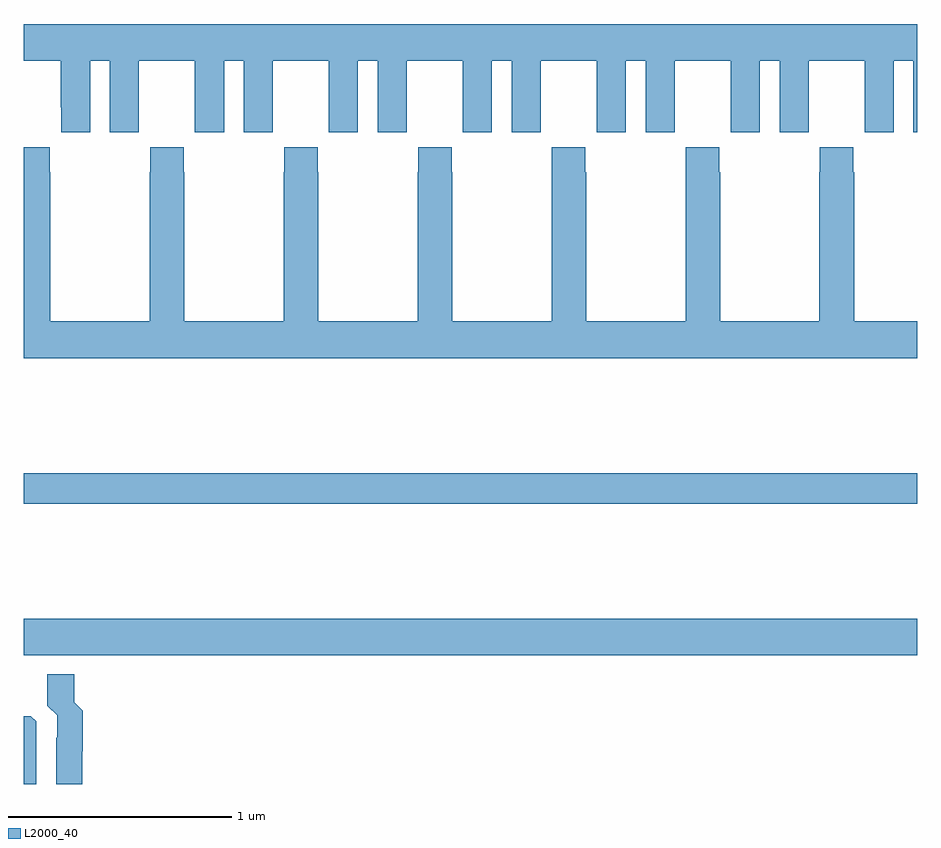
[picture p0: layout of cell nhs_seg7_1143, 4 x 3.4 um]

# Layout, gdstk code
import gdstk
lib = gdstk.Library(unit=1e-6, precision=1e-09)
def R(c, l, rs):  # rectangles x0, y0, x1, y1
    for r in rs: c.add(gdstk.rectangle(r[:2], r[2:], *l))
def P(c, l, *ps):  # polygons
    for p in ps: c.add(gdstk.Polygon(p, *l))
L2000_40 = (2000, 40)

nhs_seg7_1143 = lib.new_cell('nhs_seg7_1143')
R(nhs_seg7_1143, L2000_40, [(191,1040.576,195,1040.74), (191,1041.256,195,1041.392)])
P(nhs_seg7_1143, L2000_40, [(191.296,1043.24),(191.384,1043.24),(191.384,1042.92),(191.514,1042.92),(191.514,1043.032),(191.515,1043.032),(191.515,1043.24),(191.765,1043.24),(191.765,1043.032),(191.766,1043.032),(191.766,1042.92),(191.896,1042.92),(191.896,1043.24),(191.984,1043.24),(191.984,1042.92),(192.114,1042.92),(192.114,1043.032),(192.115,1043.032),(192.115,1043.24),(192.365,1043.24),(192.365,1043.032),(192.366,1043.032),(192.366,1042.92),(192.496,1042.92),(192.496,1043.24),(192.584,1043.24),(192.584,1042.92),(192.714,1042.92),(192.714,1043.032),(192.715,1043.032),(192.715,1043.24),(192.965,1043.24),(192.965,1043.032),(192.966,1043.032),(192.966,1042.92),(193.096,1042.92),(193.096,1043.24),(193.184,1043.24),(193.184,1042.92),(193.314,1042.92),(193.314,1043.032),(193.315,1043.032),(193.315,1043.24),(193.565,1043.24),(193.565,1043.032),(193.566,1043.032),(193.566,1042.92),(193.696,1042.92),(193.696,1043.24),(193.784,1043.24),(193.784,1042.92),(193.914,1042.92),(193.914,1043.032),(193.915,1043.032),(193.915,1043.24),(194.165,1043.24),(194.165,1043.032),(194.166,1043.032),(194.166,1042.92),(194.296,1042.92),(194.296,1043.24),(194.384,1043.24),(194.384,1042.92),(194.514,1042.92),(194.514,1043.032),(194.515,1043.032),(194.515,1043.24),(194.765,1043.24),(194.765,1043.032),(194.766,1043.032),(194.766,1042.92),(194.896,1042.92),(194.896,1043.24),(194.984,1043.24),(194.984,1042.92),(195,1042.92),(195,1043.404),(191,1043.404),(191,1043.24),(191.165,1043.24),(191.165,1043.032),(191.166,1043.032),(191.166,1042.92),(191.296,1042.92)],
  [(195,1042.072),(194.718,1042.072),(194.718,1042.739),(194.715,1042.739),(194.715,1042.852),(194.565,1042.852),(194.565,1042.739),(194.563,1042.739),(194.563,1042.072),(194.118,1042.072),(194.118,1042.739),(194.115,1042.739),(194.115,1042.852),(193.965,1042.852),(193.965,1042.739),(193.963,1042.739),(193.963,1042.072),(193.518,1042.072),(193.518,1042.739),(193.515,1042.739),(193.515,1042.852),(193.365,1042.852),(193.365,1042.739),(193.363,1042.739),(193.363,1042.072),(192.918,1042.072),(192.918,1042.739),(192.915,1042.739),(192.915,1042.852),(192.765,1042.852),(192.765,1042.739),(192.763,1042.739),(192.763,1042.072),(192.318,1042.072),(192.318,1042.739),(192.315,1042.739),(192.315,1042.852),(192.165,1042.852),(192.165,1042.739),(192.163,1042.739),(192.163,1042.072),(191.718,1042.072),(191.718,1042.739),(191.715,1042.739),(191.715,1042.852),(191.565,1042.852),(191.565,1042.739),(191.563,1042.739),(191.563,1042.072),(191.118,1042.072),(191.118,1042.739),(191.115,1042.739),(191.115,1042.852),(191,1042.852),(191,1041.908),(195,1041.908)],
  [(191.261,1040.146),(191.264,1040.146),(191.264,1040.328),(191.225,1040.367),(191.225,1040.491),(191.105,1040.491),(191.105,1040.35),(191.148,1040.307),(191.148,1040.207),(191.145,1040.207),(191.145,1040),(191.261,1040)],
  [(191.055,1040.28),(191.031,1040.304),(191,1040.304),(191,1040),(191.055,1040)])

lib.write_gds('nhs_seg7_1143.gds')
